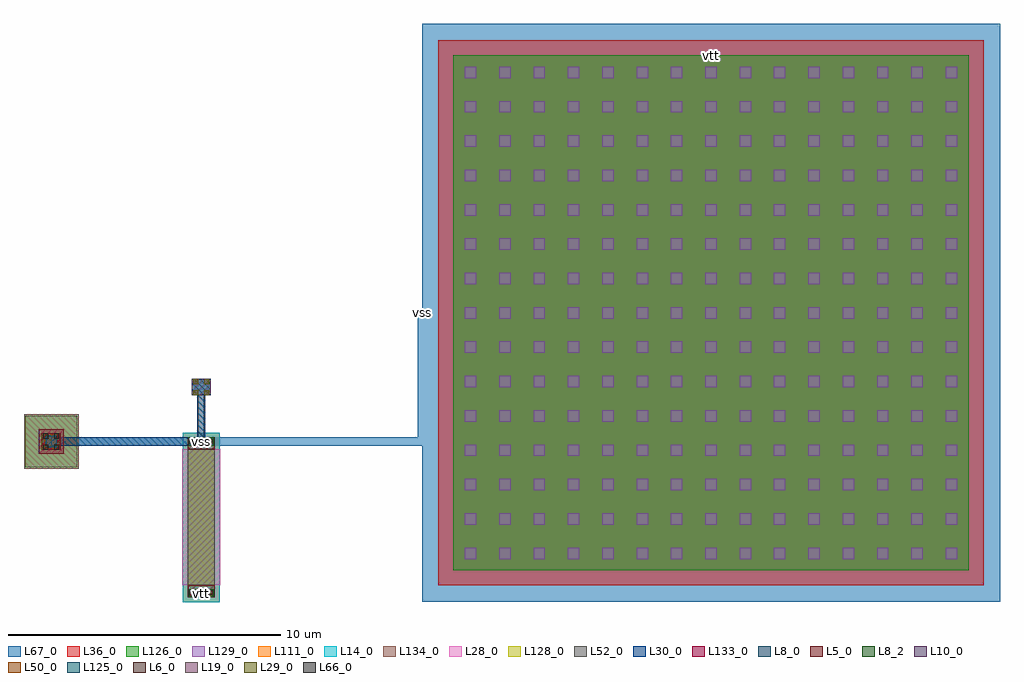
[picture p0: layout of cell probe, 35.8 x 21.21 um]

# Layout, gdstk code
import gdstk
lib = gdstk.Library(unit=1e-6, precision=1e-09)
def R(c, l, rs):  # rectangles x0, y0, x1, y1
    for r in rs: c.add(gdstk.rectangle(r[:2], r[2:], *l))
def A(c, l, x, y, w, h, nx, ny, dx, dy):  # array of equal rectangles
    R(c, l, [(x+i*dx, y+j*dy, x+i*dx+w, y+j*dy+h) for i in range(nx) for j in range(ny)])
L5_0 = (5, 0)
L6_0 = (6, 0)
L8_0 = (8, 0)
L8_2 = (8, 2)
L10_0 = (10, 0)
L14_0 = (14, 0)
L19_0 = (19, 0)
L28_0 = (28, 0)
L29_0 = (29, 0)
L30_0 = (30, 0)
L36_0 = (36, 0)
L50_0 = (50, 0)
L52_0 = (52, 0)
L66_0 = (66, 0)
L67_0 = (67, 0)
L111_0 = (111, 0)
L125_0 = (125, 0)
L126_0 = (126, 0)
L128_0 = (128, 0)
L129_0 = (129, 0)
L133_0 = (133, 0)
L134_0 = (134, 0)

rtt_bot_r0 = lib.new_cell('rtt_bot_R0')
R(rtt_bot_r0, L5_0, [(0,-0.43,1,-0.2), (0,-0.2,1,0), (0,5,1,5.2), (0,5.2,1,5.43)])
R(rtt_bot_r0, L6_0, [(0.07,-0.36,0.93,-0.2), (0.07,5.2,0.93,5.36)])
R(rtt_bot_r0, L8_0, [(0.02,-0.43,0.98,-0.13), (0.02,5.13,0.98,5.43)])
R(rtt_bot_r0, L8_2, [(0.02,-0.43,0.98,-0.13), (0.02,5.13,0.98,5.43)])
R(rtt_bot_r0, L14_0, [(-0.18,-0.61,1.18,0), (-0.18,0,1.18,5), (-0.18,5,1.18,5.61)])
R(rtt_bot_r0, L28_0, [(-0.2,0,1.2,5)])
R(rtt_bot_r0, L52_0, [(0,0,1,5)])
R(rtt_bot_r0, L111_0, [(-0.18,-0.61,1.18,0), (-0.2,0,1.2,5), (-0.18,5,1.18,5.61)])
R(rtt_bot_r0, L128_0, [(0,0,1,5)])
rtt_bot_r0.add(gdstk.Label('rppd r=1362.247', (0.5,2.5), layer=63, texttype=0))
rtt_bot_r0.add(gdstk.Label('rppd', (0.5,2.5), layer=52, texttype=0))

vtt_decap_r0 = lib.new_cell('vtt_decap_R0')
R(vtt_decap_r0, L36_0, [(0,0,20,20)])
R(vtt_decap_r0, L67_0, [(-0.6,-0.6,20.6,20.6)])
R(vtt_decap_r0, L126_0, [(0.55,0.55,19.45,19.45)])
A(vtt_decap_r0, L129_0, 0.97, 0.97, 0.42, 0.42, 15, 15, 1.26, 1.26)
vtt_decap_r0.add(gdstk.Label('c=604f', (10,10), layer=63, texttype=0))
vtt_decap_r0.add(gdstk.Label('cmim', (10,10), layer=63, texttype=0))

via_metal1_metal3_0_5_7_ = lib.new_cell('via_metal1_metal3_0.5_7.28_2x2')
R(via_metal1_metal3_0_5_7_, L8_0, [(-0.35,-0.31,0.35,0.31)])
R(via_metal1_metal3_0_5_7_, L10_0, [(-0.35,-0.305,0.35,0.305)])
R(via_metal1_metal3_0_5_7_, L19_0, [(-0.3,-0.3,-0.11,-0.11), (0.11,-0.3,0.3,-0.11), (-0.3,0.11,-0.11,0.3), (0.11,0.11,0.3,0.3)])
R(via_metal1_metal3_0_5_7_, L29_0, [(-0.3,-0.3,-0.11,-0.11), (0.11,-0.3,0.3,-0.11), (-0.3,0.11,-0.11,0.3), (0.11,0.11,0.3,0.3)])
R(via_metal1_metal3_0_5_7_, L30_0, [(-0.35,-0.305,0.35,0.305)])

via_metal5_metal4__5_0_5 = lib.new_cell('via_metal5_metal4_-5.0_5.28_2x2')
R(via_metal5_metal4__5_0_5, L67_0, [(-0.31,-0.31,0.31,0.31)])
R(via_metal5_metal4__5_0_5, L125_0, [(-0.21,-0.21,0.21,0.21)])
R(via_metal5_metal4__5_0_5, L126_0, [(-0.95,-0.95,0.95,0.95)])
R(via_metal5_metal4__5_0_5, L133_0, [(-0.45,-0.45,0.45,0.45)])
R(via_metal5_metal4__5_0_5, L134_0, [(-1,-1,1,1)])

via_metal4_metal3__5_0_5 = lib.new_cell('via_metal4_metal3_-5.0_5.28_2x2')
R(via_metal4_metal3__5_0_5, L50_0, [(-0.35,-0.305,0.35,0.305)])
R(via_metal4_metal3__5_0_5, L66_0, [(-0.3,-0.3,-0.11,-0.11), (0.11,-0.3,0.3,-0.11), (-0.3,0.11,-0.11,0.3), (0.11,0.11,0.3,0.3)])
R(via_metal4_metal3__5_0_5, L67_0, [(-0.35,-0.31,0.35,0.31)])
R(via_metal4_metal3__5_0_5, L125_0, [(-0.21,-0.21,0.21,0.21)])
R(via_metal4_metal3__5_0_5, L126_0, [(-0.95,-0.95,0.95,0.95)])
R(via_metal4_metal3__5_0_5, L133_0, [(-0.45,-0.45,0.45,0.45)])
R(via_metal4_metal3__5_0_5, L134_0, [(-1,-1,1,1)])

probe = lib.new_cell('probe')
R(probe, L8_0, [(0.38,5.16,0.62,7.4)])
R(probe, L30_0, [(-5,5.13,0.5,5.43), (0.35,5.28,0.65,7.28)])
R(probe, L67_0, [(-5,5.13,8.6,5.43), (8.45,5.28,8.75,10)])
probe.add(gdstk.Reference(rtt_bot_r0, (0,0)))
probe.add(gdstk.Reference(vtt_decap_r0, (9.2,0)))
probe.add(gdstk.Reference(via_metal1_metal3_0_5_7_, (0.5,7.28)))
probe.add(gdstk.Reference(via_metal5_metal4__5_0_5, (-5,5.28)))
probe.add(gdstk.Reference(via_metal4_metal3__5_0_5, (-5,5.28)))
probe.add(gdstk.Label('vss', (0.5,5.28), layer=8, texttype=25))
probe.add(gdstk.Label('vtt', (0.5,-0.28), layer=8, texttype=25))
probe.add(gdstk.Label('vss', (8.6,10), layer=67, texttype=25))
probe.add(gdstk.Label('vtt', (19.2,19.45), layer=126, texttype=25))

lib.write_gds('probe.gds')
